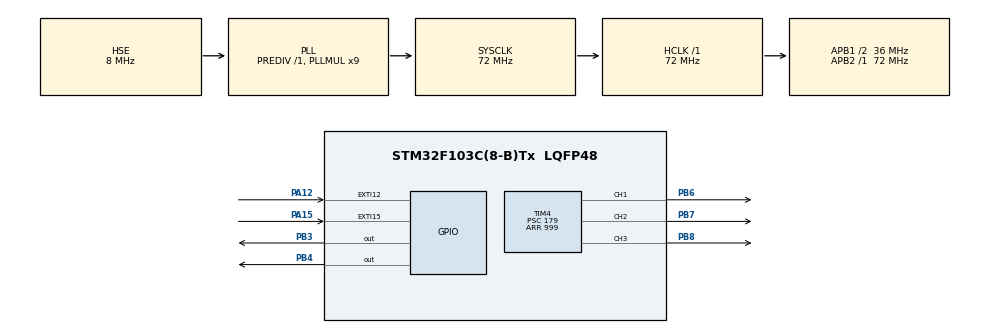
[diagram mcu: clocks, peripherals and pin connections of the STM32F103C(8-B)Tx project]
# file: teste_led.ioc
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Mcu.Family=STM32F1
Mcu.Name=STM32F103C(8-B)Tx
Mcu.Package=LQFP48
NVIC.EXTI15_10_IRQn=true\:0\:0\:false\:false\:true\:true\:true
NVIC.PriorityGroup=NVIC_PRIORITYGROUP_4
NVIC.TIM1_CC_IRQn=true\:0\:0\:false\:false\:true\:true\:true
NVIC.TIM1_UP_IRQn=true\:0\:0\:false\:false\:true\:true\:true
PA12.GPIO_ModeDefaultEXTI=GPIO_MODE_IT_FALLING
PA12.Signal=GPXTI12
PA15.GPIO_ModeDefaultEXTI=GPIO_MODE_IT_RISING_FALLING
PA15.Signal=GPXTI15
PB3.Signal=GPIO_Output
PB4.Signal=GPIO_Output
PB6.Signal=S_TIM4_CH1
PB7.Signal=S_TIM4_CH2
PB8.Signal=S_TIM4_CH3
PC14-OSC32_IN.Mode=LSE-External-Oscillator
PC14-OSC32_IN.Signal=RCC_OSC32_IN
PC15-OSC32_OUT.Mode=LSE-External-Oscillator
PC15-OSC32_OUT.Signal=RCC_OSC32_OUT
PD0-OSC_IN.Mode=HSE-External-Oscillator
PD0-OSC_IN.Signal=RCC_OSC_IN
PD1-OSC_OUT.Mode=HSE-External-Oscillator
PD1-OSC_OUT.Signal=RCC_OSC_OUT
ProjectManager.HeapSize=0x200
ProjectManager.StackSize=0x400
ProjectManager.TargetToolchain=TrueSTUDIO
RCC.AHBFreq_Value=72000000
RCC.APB1CLKDivider=RCC_HCLK_DIV2
RCC.APB1Freq_Value=36000000
RCC.APB1TimFreq_Value=72000000
RCC.APB2Freq_Value=72000000
RCC.APB2TimFreq_Value=72000000
RCC.HCLKFreq_Value=72000000
RCC.PLLMUL=RCC_PLL_MUL9
RCC.PLLSourceVirtual=RCC_PLLSOURCE_HSE
RCC.SYSCLKFreq_VALUE=72000000
RCC.SYSCLKSource=RCC_SYSCLKSOURCE_PLLCLK
RCC.USBFreq_Value=72000000
SH.S_TIM4_CH1.0=TIM4_CH1,PWM Generation1 CH1
SH.S_TIM4_CH2.0=TIM4_CH2,PWM Generation2 CH2
SH.S_TIM4_CH3.0=TIM4_CH3,PWM Generation3 CH3
TIM1.Period=3599
TIM1.Prescaler=9999
TIM4.Channel-PWM\ Generation1\ CH1=TIM_CHANNEL_1
TIM4.Channel-PWM\ Generation2\ CH2=TIM_CHANNEL_2
TIM4.Channel-PWM\ Generation3\ CH3=TIM_CHANNEL_3
TIM4.Period=999
TIM4.Prescaler=179
VP_SYS_VS_ND.Mode=No_Debug
VP_TIM1_VS_ClockSourceINT.Mode=Internal
VP_TIM4_VS_ClockSourceINT.Mode=Internal
board=custom

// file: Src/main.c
/* USER CODE BEGIN Header */
/**
 ******************************************************************************
 * @file           : main.c
 * @brief          : Main program body
 ******************************************************************************
 * @attention
 *
 * <h2><center>&copy; Copyright (c) 2020 STMicroelectronics.
 * All rights reserved.</center></h2>
 *
 * This software component is licensed by ST under BSD 3-Clause license,
 * the "License"; You may not use this file except in compliance with the
 * License. You may obtain a copy of the License at:
 *                        opensource.org/licenses/BSD-3-Clause
 *
 ******************************************************************************
 */
/* USER CODE END Header */

#include "main.h"

TIM_HandleTypeDef htim1;
TIM_HandleTypeDef htim4;

/* USER CODE BEGIN PV */
volatile uint16_t duty_1 = 0;
volatile uint16_t duty_2 = 0;
volatile uint16_t duty_3 = 0;
volatile uint8_t duty_1_flag = 0;
volatile uint8_t duty_2_flag = 0;
volatile uint8_t duty_3_flag = 0;
const uint16_t duty_max = 499;
const uint32_t debounce_timeout1 = 50;
const uint32_t debounce_long_timeout1 = 1000;
volatile uint32_t elapsed_time1 = 0;
volatile uint32_t current_time1 = 0;
const uint32_t debounce_timeout2 = 50;
volatile uint32_t current_time2 = 0;
volatile uint8_t config_state = 0;
volatile uint8_t led_state = 0;
volatile uint8_t btn_hold_counter = 0;
const uint32_t btn_hold_timeout = 20;

enum {
	IDLE = 0, COLOR1, COLOR2, COLOR3, WHITE, BLUE, RED, GREEN, WAVE, STRIP_RESET
};
/* USER CODE END PV */

void SystemClock_Config(void);
static void MX_GPIO_Init(void);
static void MX_TIM1_Init(void);
static void MX_TIM4_Init(void);
/* USER CODE BEGIN PFP */
void update_wave(void);
void led_strip_reset(void);
/* USER CODE END PFP */

int main(void) {

	/* MCU Configuration--------------------------------------------------------*/

	/* Reset of all peripherals, Initializes the Flash interface and the Systick. */
	HAL_Init();

	/* Configure the system clock */
	SystemClock_Config();

	/* Initialize all configured peripherals */
	MX_GPIO_Init();
	MX_TIM1_Init();
	MX_TIM4_Init();
	/* USER CODE BEGIN 2 */
	HAL_TIM_PWM_Start(&htim4, TIM_CHANNEL_1);
	HAL_TIM_PWM_Start(&htim4, TIM_CHANNEL_2);
	HAL_TIM_PWM_Start(&htim4, TIM_CHANNEL_3);

	current_time1 = current_time2 = HAL_GetTick();

	HAL_GPIO_WritePin(GPIOB, GPIO_PIN_3, GPIO_PIN_SET);
	/* USER CODE END 2 */

	/* Infinite loop */
	/* USER CODE BEGIN WHILE */
	while (1) {
		switch (led_state) {
		case WHITE:
			duty_1 = duty_max;
			duty_2 = duty_max;
			duty_3 = duty_max;
			TIM4->CCR1 = duty_1;
			TIM4->CCR2 = duty_2;
			TIM4->CCR3 = duty_3;
			break;

		case BLUE:
			duty_1 = duty_max;
			duty_2 = 0;
			duty_3 = 0;
			TIM4->CCR1 = duty_1;
			TIM4->CCR2 = duty_2;
			TIM4->CCR3 = duty_3;
			break;

		case RED:
			duty_1 = 0;
			duty_2 = duty_max;
			duty_3 = 0;
			TIM4->CCR1 = duty_1;
			TIM4->CCR2 = duty_2;
			TIM4->CCR3 = duty_3;
			break;

		case GREEN:
			duty_1 = 0;
			duty_2 = 0;
			duty_3 = duty_max;
			TIM4->CCR1 = duty_1;
			TIM4->CCR2 = duty_2;
			TIM4->CCR3 = duty_3;
			break;

		case WAVE:
			update_wave();
			break;

		case STRIP_RESET:
			led_strip_reset();
			led_state = IDLE;
			break;
		}

		/* USER CODE END WHILE */

	}
}

void SystemClock_Config(void) {
	RCC_OscInitTypeDef RCC_OscInitStruct = { 0 };
	RCC_ClkInitTypeDef RCC_ClkInitStruct = { 0 };

	/** Initializes the CPU, AHB and APB busses clocks
	 */
	RCC_OscInitStruct.OscillatorType = RCC_OSCILLATORTYPE_HSE;
	RCC_OscInitStruct.HSEState = RCC_HSE_ON;
	RCC_OscInitStruct.HSEPredivValue = RCC_HSE_PREDIV_DIV1;
	RCC_OscInitStruct.HSIState = RCC_HSI_ON;
	RCC_OscInitStruct.PLL.PLLState = RCC_PLL_ON;
	RCC_OscInitStruct.PLL.PLLSource = RCC_PLLSOURCE_HSE;
	RCC_OscInitStruct.PLL.PLLMUL = RCC_PLL_MUL9;
	if (HAL_RCC_OscConfig(&RCC_OscInitStruct) != HAL_OK) {
		Error_Handler();
	}
	/** Initializes the CPU, AHB and APB busses clocks
	 */
	RCC_ClkInitStruct.ClockType = RCC_CLOCKTYPE_HCLK | RCC_CLOCKTYPE_SYSCLK
			| RCC_CLOCKTYPE_PCLK1 | RCC_CLOCKTYPE_PCLK2;
	RCC_ClkInitStruct.SYSCLKSource = RCC_SYSCLKSOURCE_PLLCLK;
	RCC_ClkInitStruct.AHBCLKDivider = RCC_SYSCLK_DIV1;
	RCC_ClkInitStruct.APB1CLKDivider = RCC_HCLK_DIV2;
	RCC_ClkInitStruct.APB2CLKDivider = RCC_HCLK_DIV1;

	if (HAL_RCC_ClockConfig(&RCC_ClkInitStruct, FLASH_LATENCY_2) != HAL_OK) {
		Error_Handler();
	}
}

static void MX_TIM1_Init(void) {

	TIM_ClockConfigTypeDef sClockSourceConfig = { 0 };
	TIM_MasterConfigTypeDef sMasterConfig = { 0 };

	htim1.Instance = TIM1;
	htim1.Init.Prescaler = 9999;
	htim1.Init.CounterMode = TIM_COUNTERMODE_UP;
	htim1.Init.Period = 3599;
	htim1.Init.ClockDivision = TIM_CLOCKDIVISION_DIV1;
	htim1.Init.RepetitionCounter = 0;
	htim1.Init.AutoReloadPreload = TIM_AUTORELOAD_PRELOAD_DISABLE;
	if (HAL_TIM_Base_Init(&htim1) != HAL_OK) {
		Error_Handler();
	}
	sClockSourceConfig.ClockSource = TIM_CLOCKSOURCE_INTERNAL;
	if (HAL_TIM_ConfigClockSource(&htim1, &sClockSourceConfig) != HAL_OK) {
		Error_Handler();
	}
	sMasterConfig.MasterOutputTrigger = TIM_TRGO_RESET;
	sMasterConfig.MasterSlaveMode = TIM_MASTERSLAVEMODE_DISABLE;
	if (HAL_TIMEx_MasterConfigSynchronization(&htim1, &sMasterConfig)
			!= HAL_OK) {
		Error_Handler();
	}

}

static void MX_TIM4_Init(void) {

	TIM_ClockConfigTypeDef sClockSourceConfig = { 0 };
	TIM_MasterConfigTypeDef sMasterConfig = { 0 };
	TIM_OC_InitTypeDef sConfigOC = { 0 };

	htim4.Instance = TIM4;
	htim4.Init.Prescaler = 359;
	htim4.Init.CounterMode = TIM_COUNTERMODE_UP;
	htim4.Init.Period = 499;
	htim4.Init.ClockDivision = TIM_CLOCKDIVISION_DIV1;
	htim4.Init.AutoReloadPreload = TIM_AUTORELOAD_PRELOAD_DISABLE;
	if (HAL_TIM_Base_Init(&htim4) != HAL_OK) {
		Error_Handler();
	}
	sClockSourceConfig.ClockSource = TIM_CLOCKSOURCE_INTERNAL;
	if (HAL_TIM_ConfigClockSource(&htim4, &sClockSourceConfig) != HAL_OK) {
		Error_Handler();
	}
	if (HAL_TIM_PWM_Init(&htim4) != HAL_OK) {
		Error_Handler();
	}
	sMasterConfig.MasterOutputTrigger = TIM_TRGO_RESET;
	sMasterConfig.MasterSlaveMode = TIM_MASTERSLAVEMODE_DISABLE;
	if (HAL_TIMEx_MasterConfigSynchronization(&htim4, &sMasterConfig)
			!= HAL_OK) {
		Error_Handler();
	}
	sConfigOC.OCMode = TIM_OCMODE_PWM1;
	sConfigOC.Pulse = 0;
	sConfigOC.OCPolarity = TIM_OCPOLARITY_HIGH;
	sConfigOC.OCFastMode = TIM_OCFAST_DISABLE;
	if (HAL_TIM_PWM_ConfigChannel(&htim4, &sConfigOC, TIM_CHANNEL_1)
			!= HAL_OK) {
		Error_Handler();
	}
	if (HAL_TIM_PWM_ConfigChannel(&htim4, &sConfigOC, TIM_CHANNEL_2)
			!= HAL_OK) {
		Error_Handler();
	}
	if (HAL_TIM_PWM_ConfigChannel(&htim4, &sConfigOC, TIM_CHANNEL_3)
			!= HAL_OK) {
		Error_Handler();
	}
	HAL_TIM_MspPostInit(&htim4);

}

static void MX_GPIO_Init(void) {
	GPIO_InitTypeDef GPIO_InitStruct = { 0 };

	/* GPIO Ports Clock Enable */
	__HAL_RCC_GPIOC_CLK_ENABLE()
	;
	__HAL_RCC_GPIOD_CLK_ENABLE()
	;
	__HAL_RCC_GPIOA_CLK_ENABLE()
	;
	__HAL_RCC_GPIOB_CLK_ENABLE()
	;

	/*Configure GPIO pin Output Level */
	HAL_GPIO_WritePin(GPIOB, GPIO_PIN_3 | GPIO_PIN_4, GPIO_PIN_RESET);

	/*Configure GPIO pin : PA12 */
	GPIO_InitStruct.Pin = GPIO_PIN_12;
	GPIO_InitStruct.Mode = GPIO_MODE_IT_FALLING;
	GPIO_InitStruct.Pull = GPIO_NOPULL;
	HAL_GPIO_Init(GPIOA, &GPIO_InitStruct);

	/*Configure GPIO pin : PA15 */
	GPIO_InitStruct.Pin = GPIO_PIN_15;
	GPIO_InitStruct.Mode = GPIO_MODE_IT_RISING_FALLING;
	GPIO_InitStruct.Pull = GPIO_NOPULL;
	HAL_GPIO_Init(GPIOA, &GPIO_InitStruct);

	/*Configure GPIO pins : PB3 PB4 */
	GPIO_InitStruct.Pin = GPIO_PIN_3 | GPIO_PIN_4;
	GPIO_InitStruct.Mode = GPIO_MODE_OUTPUT_PP;
	GPIO_InitStruct.Pull = GPIO_NOPULL;
	GPIO_InitStruct.Speed = GPIO_SPEED_FREQ_LOW;
	HAL_GPIO_Init(GPIOB, &GPIO_InitStruct);

	/* EXTI interrupt init*/
	HAL_NVIC_SetPriority(EXTI15_10_IRQn, 0, 0);
	HAL_NVIC_EnableIRQ(EXTI15_10_IRQn);

}

/* USER CODE BEGIN 4 */
void HAL_GPIO_EXTI_Callback(uint16_t GPIO_Pin) {

	if (GPIO_Pin == GPIO_PIN_15) {
		if (HAL_GetTick() - current_time1 > debounce_timeout1) {
			if (!HAL_GPIO_ReadPin(GPIOA, GPIO_PIN_15)) {
				HAL_GPIO_WritePin(GPIOB, GPIO_PIN_4, GPIO_PIN_SET);
				elapsed_time1 = HAL_GetTick();
			} else {
				elapsed_time1 = HAL_GetTick() - elapsed_time1;

				if (elapsed_time1 > debounce_long_timeout1) {
					led_strip_reset();
					HAL_GPIO_WritePin(GPIOB, GPIO_PIN_4, GPIO_PIN_RESET);
					if (led_state < WHITE) {
						led_state = WHITE;
					} else {
						if (++led_state > WAVE)
							led_state = STRIP_RESET;
					}
				} else {
					if (led_state == IDLE) {
						if (++config_state > COLOR3)
							config_state = IDLE;

						if (config_state != IDLE) {
							HAL_TIM_Base_Start_IT(&htim1);
						} else {
							HAL_TIM_Base_Stop_IT(&htim1);
							HAL_GPIO_WritePin(GPIOB, GPIO_PIN_4,
									GPIO_PIN_RESET);
						}
					}
				}
			}

			current_time1 = HAL_GetTick();
		}
	}

	else if (GPIO_Pin == GPIO_PIN_12) {
		if (HAL_GetTick() - current_time2 > debounce_timeout2) {
			if (config_state == COLOR1) {
				if ((duty_1 += 10) > duty_max)
					duty_1 = 0;
				TIM4->CCR1 = duty_1;
			} else if (config_state == COLOR2) {
				if ((duty_2 += 10) > duty_max)
					duty_2 = 0;
				TIM4->CCR2 = duty_2;
			} else if (config_state == COLOR3) {
				if ((duty_3 += 10) > duty_max)
					duty_3 = 0;
				TIM4->CCR3 = duty_3;
			}

			current_time2 = HAL_GetTick();
		}
	}
}

void HAL_TIM_PeriodElapsedCallback(TIM_HandleTypeDef *htim) {
	if (htim->Instance == TIM1) {
		HAL_GPIO_TogglePin(GPIOB, GPIO_PIN_4);
	}
}

void update_wave(void) {
	if (!duty_1_flag && !duty_2_flag && !duty_3_flag) { // LIGA 1
		if (++duty_1 >= duty_max)
			duty_1_flag = 1;
	} else if (duty_1_flag && !duty_2_flag && !duty_3_flag) { // LIGA 3
		if (++duty_3 >= duty_max)
			duty_3_flag = 1;
	} else if (duty_1_flag && !duty_2_flag && duty_3_flag) { // DESLIGA 1
		if (--duty_1 <= 0)
			duty_1_flag = 0;
	} else if (!duty_1_flag && !duty_2_flag && duty_3_flag) { // LIGA 2
		if (++duty_2 >= duty_max)
			duty_2_flag = 1;
	} else if (!duty_1_flag && duty_2_flag && duty_3_flag) { // DESLIGA 3
		if (--duty_3 <= 0)
			duty_3_flag = 0;
	} else if (!duty_1_flag && duty_2_flag && !duty_3_flag) { // LIGA 1
		if (++duty_1 >= duty_max)
			duty_1_flag = 1;
	} else if (duty_1_flag && duty_2_flag && !duty_3_flag) { // DESLIGA 2
		if (--duty_2 <= 0)
			duty_2_flag = 0;
	} else if (duty_1_flag && !duty_2_flag && !duty_3_flag) { // DESLIGA 1
		if (--duty_1 <= 0)
			duty_1_flag = 0;
	}

	TIM4->CCR1 = duty_1;
	TIM4->CCR2 = duty_2;
	TIM4->CCR3 = duty_3;

	HAL_Delay(1);
}

void led_strip_reset(void){
	duty_1_flag = 0;
	duty_1_flag = 0;
	duty_1_flag = 0;
	duty_1 = 0;
	duty_2 = 0;
	duty_3 = 0;
	TIM4->CCR1 = duty_1;
	TIM4->CCR2 = duty_2;
	TIM4->CCR3 = duty_3;
}
/* USER CODE END 4 */

void Error_Handler(void) {
}

/************************ (C) COPYRIGHT STMicroelectronics *****END OF FILE****/
